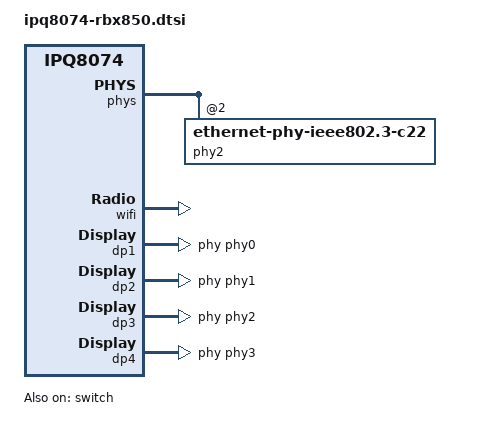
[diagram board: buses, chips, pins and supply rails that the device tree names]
// SPDX-License-Identifier: GPL-2.0-or-later OR MIT
/*
 * Copyright (c) 2026 Michael Lotz <mmlr@mlotz.ch>
 */

/dts-v1/;

#include "ipq8074-rbx750_850.dtsi"

/ {
	aliases {
		label-mac-device = &dp1;
	};
};

&switch {
	status = "okay";

	switch_lan_bmp = <(ESS_PORT1 | ESS_PORT2 | ESS_PORT3 | ESS_PORT4)>;
	switch_wan_bmp = <0>;
	switch_mac_mode = <MAC_MODE_PSGMII>;

	qcom,port_phyinfo {
		port@1 {
			port_id = <1>;
			phy_address = <0>;
		};

		port@2 {
			port_id = <2>;
			phy_address = <1>;
		};

		port@3 {
			port_id = <3>;
			phy_address = <2>;
		};

		port@4 {
			port_id = <4>;
			phy_address = <3>;
		};
	};
};

&phys {
	phy2: ethernet-phy@2 {
		compatible = "ethernet-phy-ieee802.3-c22";
		reg = <2>;
	};
};

&wifi {
	qcom,ath11k-calibration-variant = "Netgear-RBK850";
};

&dp1 {
	status = "okay";
	phy-handle = <&phy0>;
	label = "lan1";
	nvmem-cells = <&macaddr_boarddata 0>;
	nvmem-cell-names = "mac-address";
};

&dp2 {
	status = "okay";
	phy-handle = <&phy1>;
	label = "lan2";
	nvmem-cells = <&macaddr_boarddata 1>;
	nvmem-cell-names = "mac-address";
};

&dp3 {
	status = "okay";
	phy-handle = <&phy2>;
	label = "lan3";
	nvmem-cells = <&macaddr_boarddata 2>;
	nvmem-cell-names = "mac-address";
};

&dp4 {
	status = "okay";
	phy-handle = <&phy3>;
	label = "lan4";
	nvmem-cells = <&macaddr_boarddata 3>;
	nvmem-cell-names = "mac-address";
};
